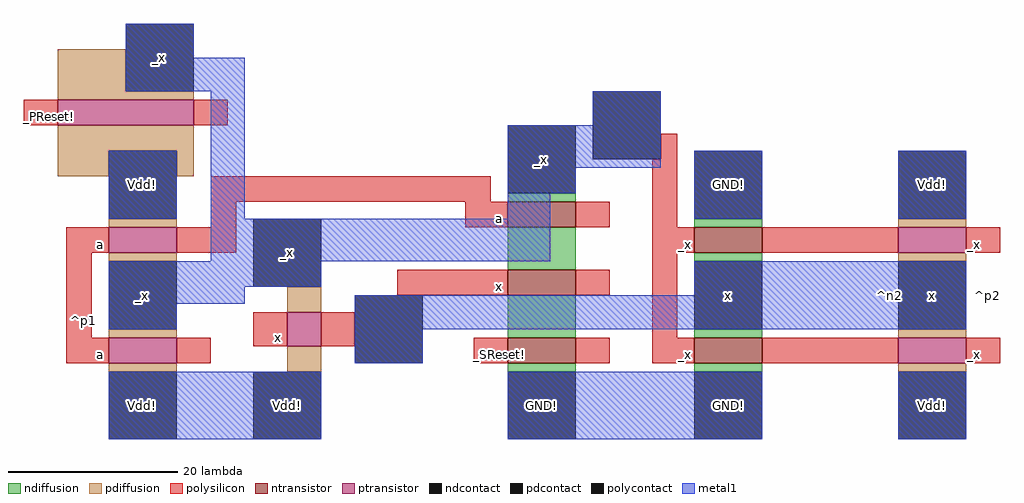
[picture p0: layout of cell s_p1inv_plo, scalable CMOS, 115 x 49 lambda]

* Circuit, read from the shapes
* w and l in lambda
.subckt s_p1inv_plo GND! Vdd! _PReset! _SReset! _x a x
M1 n1 _SReset! GND! VSUBS nfet w=8 l=3
M2 n2 x n1 VSUBS nfet w=8 l=3
M3 _x a n2 VSUBS nfet w=8 l=3
M4 x _x GND! VSUBS nfet w=8 l=3 m=2
M5 _x _PReset! Vdd! NWELL pfet w=16 l=3
M6 _x a Vdd! NWELL pfet w=8 l=3 m=2
M7 _x x Vdd! NWELL pfet w=4 l=4
M8 x _x Vdd! NWELL pfet w=8 l=3 m=2
.ends

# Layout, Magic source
magic
tech scmos
<< ndiffusion >>
rect -85 1 -77 2
rect -63 -2 -55 -1
rect -85 -7 -77 -2
rect -85 -15 -77 -10
rect -63 -6 -55 -5
rect -63 -15 -55 -14
rect -85 -19 -77 -18
rect -63 -19 -55 -18
<< pdiffusion >>
rect -138 14 -130 19
rect -138 13 -122 14
rect -138 7 -122 10
rect -138 4 -132 7
rect -124 4 -122 7
rect -132 -2 -124 -1
rect -132 -6 -124 -5
rect -39 -2 -31 -1
rect -111 -12 -107 -9
rect -132 -15 -124 -14
rect -132 -19 -124 -18
rect -111 -19 -107 -16
rect -39 -6 -31 -5
rect -39 -15 -31 -14
rect -39 -19 -31 -18
<< ntransistor >>
rect -85 -2 -77 1
rect -63 -5 -55 -2
rect -85 -10 -77 -7
rect -85 -18 -77 -15
rect -63 -18 -55 -15
<< ptransistor >>
rect -138 10 -122 13
rect -132 -5 -124 -2
rect -39 -5 -31 -2
rect -132 -18 -124 -15
rect -111 -16 -107 -12
rect -39 -18 -31 -15
<< polysilicon >>
rect -142 10 -138 13
rect -122 10 -118 13
rect -120 1 -87 4
rect -67 6 -65 9
rect -120 -2 -117 1
rect -137 -5 -132 -2
rect -124 -5 -117 -2
rect -137 -15 -134 -5
rect -90 -2 -85 1
rect -77 -2 -73 1
rect -68 -2 -65 6
rect -68 -5 -63 -2
rect -55 -5 -39 -2
rect -31 -5 -27 -2
rect -98 -10 -85 -7
rect -77 -10 -73 -7
rect -137 -18 -132 -15
rect -124 -18 -120 -15
rect -115 -16 -111 -12
rect -107 -16 -103 -12
rect -68 -15 -65 -5
rect -89 -18 -85 -15
rect -77 -18 -73 -15
rect -68 -18 -63 -15
rect -55 -18 -39 -15
rect -31 -18 -27 -15
<< ndcontact >>
rect -85 2 -77 10
rect -63 -1 -55 7
rect -63 -14 -55 -6
rect -85 -27 -77 -19
rect -63 -27 -55 -19
<< pdcontact >>
rect -130 14 -122 22
rect -132 -1 -124 7
rect -132 -14 -124 -6
rect -115 -9 -107 -1
rect -39 -1 -31 7
rect -39 -14 -31 -6
rect -132 -27 -124 -19
rect -115 -27 -107 -19
rect -39 -27 -31 -19
<< polycontact >>
rect -75 6 -67 14
rect -103 -18 -95 -10
<< metal1 >>
rect -130 18 -122 22
rect -130 14 -116 18
rect -132 -1 -124 7
rect -120 -1 -116 14
rect -75 10 -67 14
rect -85 5 -67 10
rect -85 2 -77 5
rect -85 -1 -80 2
rect -63 -1 -55 7
rect -39 -1 -31 7
rect -120 -6 -80 -1
rect -132 -9 -107 -6
rect -132 -11 -116 -9
rect -63 -10 -31 -6
rect -132 -14 -124 -11
rect -103 -14 -31 -10
rect -103 -18 -95 -14
rect -132 -27 -107 -19
rect -85 -27 -55 -19
rect -39 -27 -31 -19
<< labels >>
rlabel metal1 -111 -23 -111 -23 1 Vdd!
rlabel polysilicon -112 -15 -112 -15 1 x
rlabel metal1 -111 -5 -111 -5 1 _x
rlabel polysilicon -133 -4 -133 -4 1 a
rlabel polysilicon -133 -17 -133 -17 1 a
rlabel metal1 -128 3 -128 3 5 Vdd!
rlabel metal1 -128 -23 -128 -23 1 Vdd!
rlabel metal1 -128 -10 -128 -10 1 _x
rlabel metal1 -126 18 -126 18 1 _x
rlabel polysilicon -139 11 -139 11 3 _PReset!
rlabel space -138 -27 -132 1 7 ^p1
rlabel metal1 -81 6 -81 6 1 _x
rlabel polysilicon -86 -17 -86 -17 1 _SReset!
rlabel polysilicon -86 -9 -86 -9 1 x
rlabel polysilicon -86 -1 -86 -1 1 a
rlabel metal1 -81 -23 -81 -23 1 GND!
rlabel polysilicon -64 -4 -64 -4 3 _x
rlabel polysilicon -64 -17 -64 -17 3 _x
rlabel ndcontact -59 3 -59 3 5 GND!
rlabel ndcontact -59 -23 -59 -23 1 GND!
rlabel ndcontact -59 -10 -59 -10 1 x
rlabel polysilicon -30 -17 -30 -17 1 _x
rlabel polysilicon -30 -4 -30 -4 1 _x
rlabel pdcontact -35 3 -35 3 5 Vdd!
rlabel pdcontact -35 -10 -35 -10 1 x
rlabel pdcontact -35 -23 -35 -23 1 Vdd!
rlabel space -31 -27 -26 7 3 ^p2
rlabel space -55 -28 -25 8 3 ^n2
<< end >>
